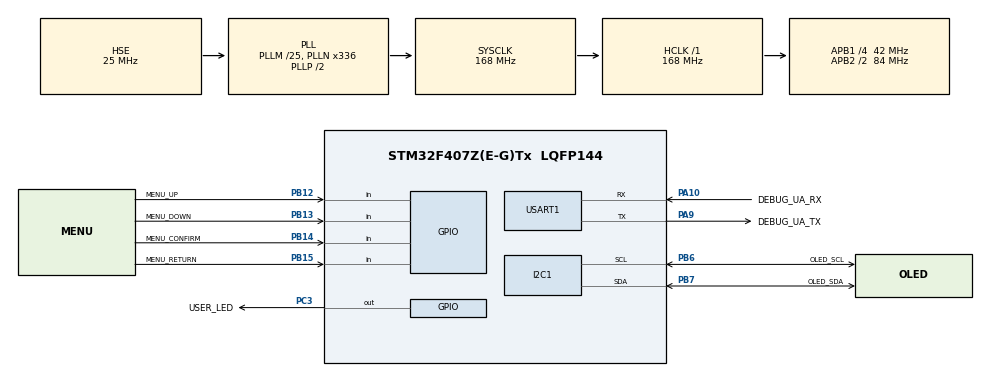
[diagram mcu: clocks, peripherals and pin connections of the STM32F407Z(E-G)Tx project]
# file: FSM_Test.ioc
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I2C1.DutyCycle=I2C_DUTYCYCLE_16_9
I2C1.I2C_Mode=I2C_Fast
Mcu.Family=STM32F4
Mcu.Name=STM32F407Z(E-G)Tx
Mcu.Package=LQFP144
NVIC.PriorityGroup=NVIC_PRIORITYGROUP_2
NVIC.TIM6_DAC_IRQn=true\:2\:2\:true\:false\:true\:true\:true\:true
NVIC.USART1_IRQn=true\:1\:1\:true\:false\:true\:true\:true\:true
PA10.GPIO_Label=DEBUG_UA_RX
PA10.Mode=Asynchronous
PA10.Signal=USART1_RX
PA13.Mode=Serial_Wire
PA13.Signal=SYS_JTMS-SWDIO
PA14.Mode=Serial_Wire
PA14.Signal=SYS_JTCK-SWCLK
PA9.GPIO_Label=DEBUG_UA_TX
PA9.Mode=Asynchronous
PA9.Signal=USART1_TX
PB12.GPIO_Label=MENU_UP
PB12.GPIO_PuPd=GPIO_PULLUP
PB12.Signal=GPIO_Input
PB13.GPIO_Label=MENU_DOWN
PB13.GPIO_PuPd=GPIO_PULLUP
PB13.Signal=GPIO_Input
PB14.GPIO_Label=MENU_CONFIRM
PB14.GPIO_PuPd=GPIO_PULLUP
PB14.Signal=GPIO_Input
PB15.GPIO_Label=MENU_RETURN
PB15.GPIO_PuPd=GPIO_PULLUP
PB15.Signal=GPIO_Input
PB6.GPIO_Label=OLED_SCL
PB6.Mode=I2C
PB6.Signal=I2C1_SCL
PB7.GPIO_Label=OLED_SDA
PB7.Mode=I2C
PB7.Signal=I2C1_SDA
PC14-OSC32_IN.Mode=LSE-External-Oscillator
PC14-OSC32_IN.Signal=RCC_OSC32_IN
PC15-OSC32_OUT.Mode=LSE-External-Oscillator
PC15-OSC32_OUT.Signal=RCC_OSC32_OUT
PC3.GPIO_Label=USER_LED
PC3.GPIO_PuPd=GPIO_PULLUP
PC3.Signal=GPIO_Output
PH0-OSC_IN.Mode=HSE-External-Oscillator
PH0-OSC_IN.Signal=RCC_OSC_IN
PH1-OSC_OUT.Mode=HSE-External-Oscillator
PH1-OSC_OUT.Signal=RCC_OSC_OUT
ProjectManager.HeapSize=0x200
ProjectManager.StackSize=0x400
ProjectManager.TargetToolchain=MDK-ARM V5.32
RCC.48MHZClocksFreq_Value=84000000
RCC.AHBFreq_Value=168000000
RCC.APB1CLKDivider=RCC_HCLK_DIV4
RCC.APB1Freq_Value=42000000
RCC.APB1TimFreq_Value=84000000
RCC.APB2CLKDivider=RCC_HCLK_DIV2
RCC.APB2Freq_Value=84000000
RCC.APB2TimFreq_Value=168000000
RCC.CortexFreq_Value=168000000
RCC.HCLKFreq_Value=168000000
RCC.HSE_VALUE=25000000
RCC.HSI_VALUE=16000000
RCC.PLLM=25
RCC.PLLN=336
RCC.PLLSourceVirtual=RCC_PLLSOURCE_HSE
RCC.SYSCLKFreq_VALUE=168000000
RCC.SYSCLKSource=RCC_SYSCLKSOURCE_PLLCLK
RCC.VCOOutputFreq_Value=336000000
STMicroelectronics.X-CUBE-ALGOBUILD.1.4.0.LibraryCcDSPOoLibraryJjDSPOoLibrary=true
TIM6.AutoReloadPreload=TIM_AUTORELOAD_PRELOAD_ENABLE
TIM6.Period=84-1
TIM6.Prescaler=1000-1
USART1.VirtualMode=VM_ASYNC
VP_STMicroelectronics.X-CUBE-ALGOBUILD_VS_DSPOoLibraryJjLibrary_1.4.0_1.4.0.Mode=DSPOoLibraryJjLibrary
VP_TIM6_VS_ClockSourceINT.Mode=Enable_Timer
board=custom

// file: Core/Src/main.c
/* USER CODE BEGIN Header */
/**
  ******************************************************************************
  * @file           : main.c
  * @brief          : Main program body
  ******************************************************************************
  * @attention
  *
  * Copyright (c) 2025 STMicroelectronics.
  * All rights reserved.
  *
  * This software is licensed under terms that can be found in the LICENSE file
  * in the root directory of this software component.
  * If no LICENSE file comes with this software, it is provided AS-IS.
  *
  ******************************************************************************
  */
/* USER CODE END Header */
#include "main.h"
#include "i2c.h"
#include "tim.h"
#include "usart.h"
#include "gpio.h"

/* USER CODE BEGIN Includes */

#include "user_tim.h"
#include "user_usart.h"
#include "arm_math.h"
#include "user_led.h"
#include "fsm_menu.h"
#include "./OLED/OLED.h"
#include "./TLSF/tlsf_porting.h"
#include "./cJSON/cJSON_porting.h"
#include "./Flexible_Button/flexible_button.h"
#include "./Flexible_Button/flexbutton_porting.h"
#include "./Multi_Timer/MultiTimer.h"
#include "./Multi_Timer/MultiTimer_callback.h"
#include "./Letter_Shell/letter_shell_porting.h"
#include "./Gear_Motor/gear_motor.h"

/* USER CODE END Includes */

/* USER CODE BEGIN PV */

static char que_rec;	/*用于暂存消息队列读取的状态*/
menu_event_t* menu_fsm_msg; /*用于暂存菜单状态机的消息*/

/* USER CODE END PV */

void SystemClock_Config(void);

int main(void)
{

  /* MCU Configuration--------------------------------------------------------*/

  /* Reset of all peripherals, Initializes the Flash interface and the Systick. */
  HAL_Init();

  /* Configure the system clock */
  SystemClock_Config();

  /* Initialize all configured peripherals */
  MX_GPIO_Init();
  MX_I2C1_Init();
  MX_USART1_UART_Init();
  MX_TIM6_Init();
  /* USER CODE BEGIN 2 */

  ccm_pool_init(); /*初始化ccm内存池*/
  OLED_Init(); /*初始化OLED*/
  cJSON_set_hook(); /*重定向cJSON的内存管理函数*/
  user_button_init(); /*初始化flexible button*/
  debug_shell_init(); /*初始化letter shell*/
  menu_init(&menu_fsm); /*初始化菜单状态机*/
  motor_pid_init(); /*初始化电机pid*/
  sovor_pid_init();
  multiTimerInstall(get_sys_time_base); /*载入MultiTimer软件定时器时基*/

  /* USER CODE END 2 */

  /* Infinite loop */
  /* USER CODE BEGIN WHILE */

  btn_scan_tim_start(); /*启动按键扫描软件定时器*/
  led_flicker_tim_start(); /*启动LED闪烁软件定时器*/
  oled_update_tim_start(); /*启动OLED更新软件定时器*/
  letter_shell_tim_start(); /*启动letter shell任务软件定时器*/

  HAL_TIM_Base_Start_IT(&TIME_BASE_TIM); /*启动系统时基定时器*/
  debug_usart_rec_start(); /*使能调试串口接收*/

  while (1)
  {
    /* USER CODE END WHILE */

    /* USER CODE BEGIN 3 */

	  menu_fsm_msg = (menu_event_t*)lw_queue_read(que_menu_msg, &que_rec); /*尝试读取菜单消息*/

	  /*如果读取到了消息*/
	  if(que_rec == LWQ_SUCCESS)
	  {
		  menu_dispatch(&menu_fsm, menu_fsm_msg); /*执行状态机*/
		  tlsf_free(ccm_pool_manager, (void*)menu_fsm_msg); /*清理已经处理过的事件*/
	  }

	  multiTimerYield(); /*执行软件定时器任务*/

  }
  /* USER CODE END 3 */
}

void SystemClock_Config(void)
{
  RCC_OscInitTypeDef RCC_OscInitStruct = {0};
  RCC_ClkInitTypeDef RCC_ClkInitStruct = {0};

  /** Configure the main internal regulator output voltage
  */
  __HAL_RCC_PWR_CLK_ENABLE();
  __HAL_PWR_VOLTAGESCALING_CONFIG(PWR_REGULATOR_VOLTAGE_SCALE1);

  /** Initializes the RCC Oscillators according to the specified parameters
  * in the RCC_OscInitTypeDef structure.
  */
  RCC_OscInitStruct.OscillatorType = RCC_OSCILLATORTYPE_HSE;
  RCC_OscInitStruct.HSEState = RCC_HSE_ON;
  RCC_OscInitStruct.PLL.PLLState = RCC_PLL_ON;
  RCC_OscInitStruct.PLL.PLLSource = RCC_PLLSOURCE_HSE;
  RCC_OscInitStruct.PLL.PLLM = 25;
  RCC_OscInitStruct.PLL.PLLN = 336;
  RCC_OscInitStruct.PLL.PLLP = RCC_PLLP_DIV2;
  RCC_OscInitStruct.PLL.PLLQ = 4;
  if (HAL_RCC_OscConfig(&RCC_OscInitStruct) != HAL_OK)
  {
    Error_Handler();
  }

  /** Initializes the CPU, AHB and APB buses clocks
  */
  RCC_ClkInitStruct.ClockType = RCC_CLOCKTYPE_HCLK|RCC_CLOCKTYPE_SYSCLK
                              |RCC_CLOCKTYPE_PCLK1|RCC_CLOCKTYPE_PCLK2;
  RCC_ClkInitStruct.SYSCLKSource = RCC_SYSCLKSOURCE_PLLCLK;
  RCC_ClkInitStruct.AHBCLKDivider = RCC_SYSCLK_DIV1;
  RCC_ClkInitStruct.APB1CLKDivider = RCC_HCLK_DIV4;
  RCC_ClkInitStruct.APB2CLKDivider = RCC_HCLK_DIV2;

  if (HAL_RCC_ClockConfig(&RCC_ClkInitStruct, FLASH_LATENCY_5) != HAL_OK)
  {
    Error_Handler();
  }
}

void Error_Handler(void)
{
  __disable_irq();
  while (1)
  {
  }
}
